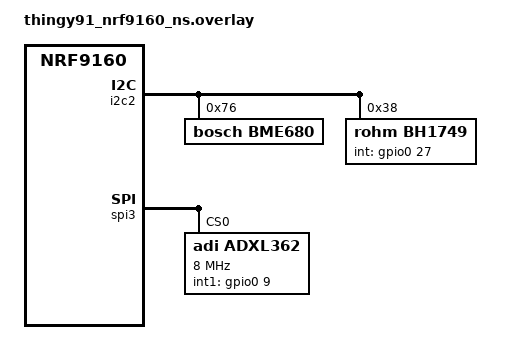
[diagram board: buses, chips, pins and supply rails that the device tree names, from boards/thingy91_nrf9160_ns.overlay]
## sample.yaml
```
sample:
  description: Send data to Golioth Light DB stream based on sensors on Device Tree
  name: lightdb stream
common:
  harness: net
  platform_allow: esp32 qemu_cortex_m3 qemu_x86 nrf52840dk_nrf52840 thingy91_nrf9160_ns circuitdojo_feather_nrf9160_ns
  tags: golioth net socket
tests:
  sample.golioth.lightdb_stream: {}
```

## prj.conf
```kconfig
# Generic networking options
CONFIG_NETWORKING=y
CONFIG_NET_IPV4=y
CONFIG_NET_IPV6=n

# Logging
CONFIG_NET_LOG=y

# Network Shell
CONFIG_NET_SHELL=y

# TLS configuration
CONFIG_MBEDTLS_ENABLE_HEAP=y
CONFIG_MBEDTLS_HEAP_SIZE=10240
CONFIG_MBEDTLS_SSL_MAX_CONTENT_LEN=2048

# Application
CONFIG_MAIN_STACK_SIZE=4096
CONFIG_EVENTFD=y

CONFIG_GOLIOTH=y
CONFIG_GOLIOTH_SYSTEM_CLIENT=y

CONFIG_MINIMAL_LIBC_MALLOC_ARENA_SIZE=8192

CONFIG_QCBOR=y
```

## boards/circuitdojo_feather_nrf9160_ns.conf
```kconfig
# General config
CONFIG_HEAP_MEM_POOL_SIZE=4096
CONFIG_NEWLIB_LIBC=y

# Networking
CONFIG_NET_NATIVE=n
CONFIG_NET_SOCKETS_OFFLOAD=y

# Use Zephyr mbedTLS, as there was no success so far with using offloaded TLS in
# modem library.
CONFIG_NET_SOCKETS_OFFLOAD_TLS=n

# LTE link control
CONFIG_LTE_LINK_CONTROL=y
CONFIG_LTE_AUTO_INIT_AND_CONNECT=y

# Modem library
CONFIG_NRF_MODEM_LIB=y

# Offloaded poll() does not support external events like eventfd, so use timeout
# in poll() instead.
CONFIG_GOLIOTH_SYSTEM_CLIENT_TIMEOUT_USING_POLL=y

# use usb bootloader
CONFIG_BOOTLOADER_MCUBOOT=y

# enable sensors
CONFIG_I2C=y
CONFIG_SENSOR=y
CONFIG_LIS2DH=y
```

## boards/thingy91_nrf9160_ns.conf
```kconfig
# General config
CONFIG_HEAP_MEM_POOL_SIZE=4096
CONFIG_NEWLIB_LIBC=y

# Networking
CONFIG_NET_NATIVE=n
CONFIG_NET_SOCKETS_OFFLOAD=y

# Use Zephyr mbedTLS, as there was no success so far with using offloaded TLS in
# modem library.
CONFIG_NET_SOCKETS_OFFLOAD_TLS=n

# LTE link control
CONFIG_LTE_LINK_CONTROL=y
CONFIG_LTE_AUTO_INIT_AND_CONNECT=y

# Modem library
CONFIG_NRF_MODEM_LIB=y

# Offloaded poll() does not support external events like eventfd, so use timeout
# in poll() instead.
CONFIG_GOLIOTH_SYSTEM_CLIENT_TIMEOUT_USING_POLL=y

CONFIG_I2C=y
CONFIG_SENSOR=y
CONFIG_BME680=y
CONFIG_ADXL362=y
```

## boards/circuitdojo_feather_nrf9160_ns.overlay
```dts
/*
 * Copyright (C) 2021 Golioth, Inc.
 *
 * SPDX-License-Identifier: Apache-2.0
 */
/ {
  aliases {
    accel0 = &lis2dh;
  };
};

&i2c1 {
  lis2dh: lis2dh@18 {
    compatible = "st,lis2dh";
    label = "LIS2DH";
    reg = <0x18>;
    irq-gpios = <&gpio0 29 0>;
  };

};
```

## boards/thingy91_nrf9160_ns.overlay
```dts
/*
 * Copyright (C) 2021 Golioth, Inc.
 *
 * SPDX-License-Identifier: Apache-2.0
 */
/ {
  aliases {
    temp0 = &bme680;
    hum0 = &bme680;
    press0 = &bme680;
    gas0 = &bme680;
    accel0 = &adxl362;
  };
};

&i2c2 {
  bme680: bme680@76 {
    compatible = "bosch,bme680";
    label = "BME680";
    reg = <0x76>;
  };

  bh1749: bh1749@38 {
    compatible = "rohm,bh1749";
    label = "BH1749";
    reg = <0x38>;
    int-gpios = <&gpio0 27 0>;
  };
};

&spi3 {
  adxl362: adxl362@0 {
    compatible = "adi,adxl362";
    label = "ADXL362";
    spi-max-frequency = <8000000>;
    reg = <0>;
    int1-gpios = <&gpio0 9 0>;
  };

  /*adxl372@1 {
    compatible = "adi,adxl372";
    label = "ADXL372";
    spi-max-frequency = <8000000>;
    reg = <1>;
    int1-gpios = <&gpio0 6 0>;
  };*/
};
```

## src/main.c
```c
/*
 * Copyright (c) 2021 Golioth, Inc.
 *
 * SPDX-License-Identifier: Apache-2.0
 */

#include <logging/log.h>
LOG_MODULE_REGISTER(golioth_lightdb_stream, LOG_LEVEL_DBG);

#include <drivers/sensor.h>
#include <net/coap.h>
#include <net/golioth/system_client.h>
#include <net/golioth/wifi.h>
#include <qcbor/qcbor.h>
#include <stdlib.h>

static struct golioth_client *client = GOLIOTH_SYSTEM_CLIENT_GET();

static int get_sensor_value(const struct device *dev, struct sensor_value *val,
                            const enum sensor_channel channel) {
  int err;

  err = sensor_sample_fetch(dev);
  if (err) {
    LOG_ERR("Failed to fetch sensor data: %d", err);
    return err;
  }

  err = sensor_channel_get(dev, channel, val);
  if (err) {
    LOG_ERR("Failed to get sensor data: %d", err);
    return err;
  }
  return 0;
}

void main(void) {
  char buf[256];
  size_t cbor_size = 0;
  UsefulBuf cbor_buffer = {.ptr = buf, .len = 256};

#if DT_NODE_HAS_STATUS(DT_ALIAS(temp0), okay)
  struct sensor_value temp;
  const struct device *temp_dev = DEVICE_DT_GET(DT_ALIAS(temp0));
#endif
#if DT_NODE_HAS_STATUS(DT_ALIAS(hum0), okay)
  struct sensor_value humidity;
  const struct device *hum_dev = DEVICE_DT_GET(DT_ALIAS(hum0));
#endif
#if DT_NODE_HAS_STATUS(DT_ALIAS(press0), okay)
  struct sensor_value pressure;
  const struct device *press_dev = DEVICE_DT_GET(DT_ALIAS(press0));
#endif
#if DT_NODE_HAS_STATUS(DT_ALIAS(gas0), okay)
  struct sensor_value gas;
  const struct device *gas_dev = DEVICE_DT_GET(DT_ALIAS(gas0));
#endif
#if DT_NODE_HAS_STATUS(DT_ALIAS(accel0), okay)
  struct sensor_value accel[3];
  const struct device *accel_dev = DEVICE_DT_GET(DT_ALIAS(accel0));
#endif
  int err;

  LOG_DBG("Start Light DB stream sample");

  if (IS_ENABLED(CONFIG_GOLIOTH_SAMPLE_WIFI)) {
    LOG_INF("Connecting to WiFi");
    wifi_connect();
  }

  golioth_system_client_start();

  while (true) {
    QCBOREncodeContext ec;
    bool hasData = false;
    QCBOREncode_Init(&ec, cbor_buffer);
    QCBOREncode_OpenMap(&ec);

#if DT_NODE_HAS_STATUS(DT_ALIAS(temp0), okay)
    err = get_sensor_value(temp_dev, &temp, SENSOR_CHAN_AMBIENT_TEMP);
    if (!err) {
      QCBOREncode_AddDoubleToMap(&ec, "temp", sensor_value_to_double(&temp));
      hasData = true;
    }
#endif

#if DT_NODE_HAS_STATUS(DT_ALIAS(hum0), okay)
    err = get_sensor_value(hum_dev, &humidity, SENSOR_CHAN_HUMIDITY);
    if (!err) {
      QCBOREncode_AddDoubleToMap(&ec, "humidity",
                                 sensor_value_to_double(&humidity));
      hasData = true;
    }
#endif

#if DT_NODE_HAS_STATUS(DT_ALIAS(press0), okay)
    err = get_sensor_value(press_dev, &pressure, SENSOR_CHAN_PRESS);
    if (!err) {
      QCBOREncode_AddDoubleToMap(&ec, "pressure",
                                 sensor_value_to_double(&pressure) * 1000);
      hasData = true;
    }
#endif

#if DT_NODE_HAS_STATUS(DT_ALIAS(gas0), okay)
    err = get_sensor_value(gas_dev, &gas, SENSOR_CHAN_GAS_RES);
    if (!err) {
      QCBOREncode_AddDoubleToMap(&ec, "gas", sensor_value_to_double(&gas));
      hasData = true;
    }
#endif

#if DT_NODE_HAS_STATUS(DT_ALIAS(accel0), okay)
    err = get_sensor_value(accel_dev, &accel, SENSOR_CHAN_ACCEL_XYZ);
    if (!err) {
      QCBOREncode_AddDoubleToMap(&ec, "accel_x",
                                 sensor_value_to_double(&accel[0]));
      QCBOREncode_AddDoubleToMap(&ec, "accel_y",
                                 sensor_value_to_double(&accel[1]));
      QCBOREncode_AddDoubleToMap(&ec, "accel_z",
                                 sensor_value_to_double(&accel[2]));
      hasData = true;
    }
#endif

    QCBOREncode_CloseMap(&ec);
    QCBORError qcerr = QCBOREncode_FinishGetSize(&ec, &cbor_size);

    if (qcerr) {
      LOG_WRN("Failed to encode cbor: %d", err);
      k_sleep(K_SECONDS(1));
      continue;
    }

    if (!hasData) {
      LOG_WRN("No data collected");
      k_sleep(K_SECONDS(1));
      continue;
    }

    err = golioth_lightdb_set(client, GOLIOTH_LIGHTDB_STREAM_PATH("sensor"),
                              COAP_CONTENT_FORMAT_APP_CBOR, buf, cbor_size);
    if (err) {
      LOG_WRN("Failed to send data: %d", err);
    }

    k_sleep(K_SECONDS(60));
  }
}
```
